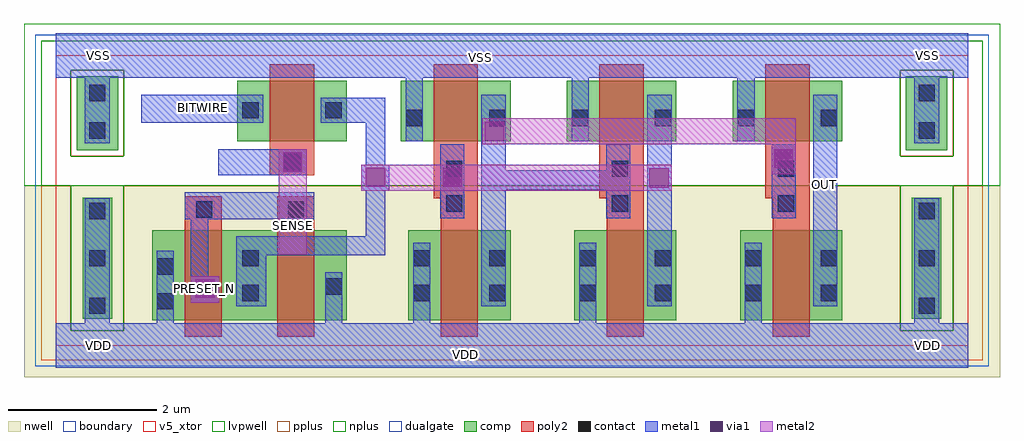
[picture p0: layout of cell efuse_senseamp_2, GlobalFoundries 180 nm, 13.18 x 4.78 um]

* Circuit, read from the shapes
.subckt efuse_senseamp_2 BITWIRE OUT PRESET_N SENSE VDD VSS
XM1 n1 SENSE BITWIRE VSS nfet_05v0 w=0.82u l=0.6u
XM2 n2 n1 VSS VSS nfet_05v0 w=0.82u l=0.6u
XM3 n1 n2 VSS VSS nfet_05v0 w=0.82u l=0.6u
XM4 OUT n2 VSS VSS nfet_05v0 w=0.82u l=0.6u
XM5 n1 PRESET_N VDD VDD pfet_05v0 w=1.22u l=0.5u m=2
XM6 n2 n1 VDD VDD pfet_05v0 w=1.22u l=0.5u
XM7 n1 n2 VDD VDD pfet_05v0 w=1.22u l=0.5u
XM8 OUT n2 VDD VDD pfet_05v0 w=1.22u l=0.5u
.ends

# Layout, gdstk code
from math import pi, radians
import gdstk
lib = gdstk.Library(unit=1e-6, precision=1e-09)
def R(c, l, rs):  # rectangles x0, y0, x1, y1
    for r in rs: c.add(gdstk.rectangle(r[:2], r[2:], *l))
def A(c, l, x, y, w, h, nx, ny, dx, dy):  # array of equal rectangles
    R(c, l, [(x+i*dx, y+j*dy, x+i*dx+w, y+j*dy+h) for i in range(nx) for j in range(ny)])
def P(c, l, *ps):  # polygons
    for p in ps: c.add(gdstk.Polygon(p, *l))
boundary = (0, 0)
nwell = (21, 0)
comp = (22, 0)
poly2 = (30, 0)
pplus = (31, 0)
nplus = (32, 0)
contact = (33, 0)
metal1 = (34, 0)
via1 = (35, 0)
metal2 = (36, 0)
dualgate = (55, 0)
v5_xtor = (112, 1)
lvpwell = (204, 0)

sa_gf180mcu_fd_sc_mcu7t5 = lib.new_cell('sa_gf180mcu_fd_sc_mcu7t5v0__inv_1')
R(sa_gf180mcu_fd_sc_mcu7t5, boundary, [(-1.96,5.1,0.28,9.02)])
R(sa_gf180mcu_fd_sc_mcu7t5, nwell, [(-2.39,4.67,0.71,7.26)])
R(sa_gf180mcu_fd_sc_mcu7t5, comp, [(-1.68,5.44,-0.3,6.66), (-1.78,7.86,-0.3,8.68)])
P(sa_gf180mcu_fd_sc_mcu7t5, poly2, [(-1.24,5.22),(-1.24,7.09),(-1.34,7.09),(-1.34,8.9),(-0.74,8.9),(-0.74,5.22)])
R(sa_gf180mcu_fd_sc_mcu7t5, pplus, [(-2.16,4.9,0.48,7.26)])
R(sa_gf180mcu_fd_sc_mcu7t5, nplus, [(-2.16,7.26,0.48,9.22)])
R(sa_gf180mcu_fd_sc_mcu7t5, contact, [(-1.61,5.7,-1.39,5.92), (-0.59,5.7,-0.37,5.92), (-1.61,6.17,-1.39,6.39), (-0.59,6.17,-0.37,6.39), (-1.17,6.91,-0.95,7.13), (-1.17,7.38,-0.95,7.6), (-1.71,8.065,-1.49,8.285), (-0.59,8.065,-0.37,8.285)])
R(sa_gf180mcu_fd_sc_mcu7t5, metal1, [(-0.695,5.63,-0.365,8.49), (-1.25,6.82,-0.925,7.82)])
P(sa_gf180mcu_fd_sc_mcu7t5, metal1, [(-1.96,4.8),(-1.96,5.4),(-1.615,5.4),(-1.615,6.49),(-1.385,6.49),(-1.385,5.4),(0.28,5.4),(0.28,4.8)],
  [(-1.715,7.86),(-1.715,8.72),(-1.96,8.72),(-1.96,9.32),(0.28,9.32),(0.28,8.72),(-1.485,8.72),(-1.485,7.86)])
R(sa_gf180mcu_fd_sc_mcu7t5, dualgate, [(-2.24,4.82,0.56,9.3)])
R(sa_gf180mcu_fd_sc_mcu7t5, v5_xtor, [(-1.96,5.1,0.28,9.02)])
R(sa_gf180mcu_fd_sc_mcu7t5, lvpwell, [(-2.39,7.26,0.71,9.45)])

sa_pmos = lib.new_cell('sa_pmos')

sa_nmos = lib.new_cell('sa_nmos')

efuse_senseamp_2 = lib.new_cell('efuse_senseamp_2')
R(efuse_senseamp_2, boundary, [(-0.99,-4.35,0.13,-0.43), (0.13,-4.35,3.49,-0.43), (10.21,-4.35,11.33,-0.43)])
R(efuse_senseamp_2, nwell, [(-1.42,-4.78,0.56,-2.19), (-0.3,-4.78,3.92,-2.19), (9.78,-4.78,11.76,-2.19)])
R(efuse_senseamp_2, comp, [(0.31,-4.01,2.94,-2.79), (-0.63,-3.99,-0.23,-2.35), (10.57,-3.99,10.97,-2.35), (-0.71,-1.71,-0.15,-0.71), (10.49,-1.71,11.05,-0.71), (1.46,-1.59,2.94,-0.77)])
R(efuse_senseamp_2, poly2, [(0.75,-4.23,1.25,-2.466), (2,-4.23,2.5,-2.465), (0.75,-2.466,1.25,-2.33), (2,-2.465,2.5,-2.33), (1.9,-2.05,2.5,-0.55)])
R(efuse_senseamp_2, pplus, [(-0.07,-4.55,3.69,-2.19), (-0.79,-1.79,-0.07,-0.63), (10.41,-1.79,11.13,-0.63)])
P(efuse_senseamp_2, pplus, [(-1.19,-4.55),(-1.19,-2.19),(-0.79,-2.19),(-0.79,-4.15),(-0.07,-4.15),(-0.07,-2.19),(0.33,-2.19),(0.33,-4.55)],
  [(10.01,-4.55),(10.01,-2.19),(10.41,-2.19),(10.41,-4.15),(11.13,-4.15),(11.13,-2.19),(11.53,-2.19),(11.53,-4.55)])
R(efuse_senseamp_2, nplus, [(-0.07,-2.19,3.69,-0.23)])
P(efuse_senseamp_2, nplus, [(-0.79,-4.15),(-0.79,-2.19),(-1.19,-2.19),(-1.19,-0.23),(0.33,-0.23),(0.33,-2.19),(-0.07,-2.19),(-0.07,-4.15),(-0.07,-0.63),(-0.79,-0.63),(-0.79,-1.79),(-0.07,-1.79),(-0.07,-4.15)],
  [(10.41,-4.15),(10.41,-2.19),(10.01,-2.19),(10.01,-0.23),(11.53,-0.23),(11.53,-2.19),(11.13,-2.19),(11.13,-4.15),(11.13,-0.63),(10.41,-0.63),(10.41,-1.79),(11.13,-1.79),(11.13,-4.15)])
A(efuse_senseamp_2, contact, -0.54, -3.92, 0.22, 0.22, 1, 3, 0, 0.64)
A(efuse_senseamp_2, contact, 10.66, -3.92, 0.22, 0.22, 1, 3, 0, 0.64)
R(efuse_senseamp_2, contact, [(0.38,-3.86,0.6,-3.64), (1.53,-3.75,1.75,-3.53), (2.65,-3.66,2.87,-3.44), (0.38,-3.39,0.6,-3.17), (1.53,-3.28,1.75,-3.06), (0.905,-2.62,1.125,-2.4), (2.145,-2.62,2.365,-2.4), (2.095,-1.98,2.315,-1.76), (-0.54,-1.555,-0.32,-1.335), (10.66,-1.555,10.88,-1.335), (1.53,-1.28,1.75,-1.06), (2.65,-1.28,2.87,-1.06), (-0.54,-1.05,-0.32,-0.83), (10.66,-1.05,10.88,-0.83)])
R(efuse_senseamp_2, metal1, [(1.445,-3.82,1.85,-2.87), (0.835,-3.77,1.215,-3.41), (0.835,-3.41,1.065,-3.155), (0.835,-3.155,1.065,-2.28), (1.85,-3.13,3.195,-2.87), (3.195,-3.13,3.455,-1), (0.75,-2.64,2.5,-2.28), (3.135,-2.26,3.515,-1.91), (5.085,-2.245,6.44,-1.98), (1.2,-2.05,2.4,-1.7), (0.165,-1.34,1.81,-0.96), (2.59,-1.34,3.455,-1), (0.13,-0.73,3.49,-0.13)])
P(efuse_senseamp_2, metal1, [(0.13,-4.65),(0.13,-4.05),(0.375,-4.05),(0.375,-3.07),(0.605,-3.07),(0.605,-4.05),(2.645,-4.05),(2.645,-3.36),(2.875,-3.36),(2.875,-4.05),(3.49,-4.05),(3.49,-4.65)],
  [(-0.6,-1.615),(-0.6,-0.73),(-0.99,-0.73),(-0.99,-0.13),(0.13,-0.13),(0.13,-0.73),(-0.26,-0.73),(-0.26,-1.615)],
  [(-0.99,-4.65),(-0.99,-4.05),(-0.6,-4.05),(-0.6,-2.36),(-0.26,-2.36),(-0.26,-4.05),(0.13,-4.05),(0.13,-4.65)],
  [(10.6,-1.615),(10.6,-0.73),(10.21,-0.73),(10.21,-0.13),(11.33,-0.13),(11.33,-0.73),(10.94,-0.73),(10.94,-1.615)],
  [(10.21,-4.65),(10.21,-4.05),(10.6,-4.05),(10.6,-2.36),(10.94,-2.36),(10.94,-4.05),(11.33,-4.05),(11.33,-4.65)])
R(efuse_senseamp_2, via1, [(0.895,-3.71,1.155,-3.45), (7.025,-2.215,7.285,-1.955), (3.195,-2.205,3.455,-1.945), (4.235,-2.205,4.495,-1.945), (2.08,-2,2.34,-1.74), (8.71,-1.955,8.97,-1.695), (4.805,-1.585,5.065,-1.325)])
R(efuse_senseamp_2, metal2, [(0.835,-3.77,1.215,-3.41), (2.02,-3.125,2.4,-1.7), (3.135,-2.26,4.115,-1.91), (4.115,-2.26,7.325,-1.91), (8.68,-2.035,9.005,-1.28), (4.765,-1.63,7.975,-1.28), (4.765,-1.63,9.005,-1.28)])
R(efuse_senseamp_2, dualgate, [(-1.27,-4.63,0.41,-0.15), (-0.15,-4.63,3.77,-0.15), (9.93,-4.63,11.61,-0.15)])
R(efuse_senseamp_2, v5_xtor, [(-0.99,-4.35,0.13,-0.43), (0.13,-4.35,3.49,-0.43), (10.21,-4.35,11.33,-0.43)])
R(efuse_senseamp_2, lvpwell, [(-1.42,-2.19,0.56,0), (-0.3,-2.19,3.92,0), (9.78,-2.19,11.76,0)])
efuse_senseamp_2.add(gdstk.Reference(sa_gf180mcu_fd_sc_mcu7t5, (5.45,-9.45)))
efuse_senseamp_2.add(gdstk.Reference(sa_gf180mcu_fd_sc_mcu7t5, (7.69,-9.45)))
efuse_senseamp_2.add(gdstk.Reference(sa_gf180mcu_fd_sc_mcu7t5, (9.93,-9.45)))
efuse_senseamp_2.add(gdstk.Reference(sa_pmos, (0.37,4.33), rotation=pi))
efuse_senseamp_2.add(gdstk.Reference(sa_nmos, (0.14,7.75), rotation=pi))
efuse_senseamp_2.add(gdstk.Label('BITWIRE', (1,-1.135), layer=34, texttype=10))
efuse_senseamp_2.add(gdstk.Label('VDD', (-0.42,-4.35), layer=34, texttype=10))
efuse_senseamp_2.add(gdstk.Label('VSS', (-0.42,-0.43), layer=34, texttype=10))
efuse_senseamp_2.add(gdstk.Label('VDD', (10.78,-4.35), layer=34, texttype=10))
efuse_senseamp_2.add(gdstk.Label('VSS', (10.78,-0.43), layer=34, texttype=10))
efuse_senseamp_2.add(gdstk.Label('VSS', (4.74,-0.455), layer=34, texttype=10))
efuse_senseamp_2.add(gdstk.Label('VDD', (4.54,-4.465), layer=34, texttype=10))
efuse_senseamp_2.add(gdstk.Label('OUT', (9.395,-2.18), layer=34, texttype=10))
efuse_senseamp_2.add(gdstk.Label('PRESET_N', (1.015,-3.575), layer=36, texttype=10))
efuse_senseamp_2.add(gdstk.Label('SENSE', (2.22,-2.725), layer=36, texttype=10))

lib.write_gds('efuse_senseamp_2.gds')
